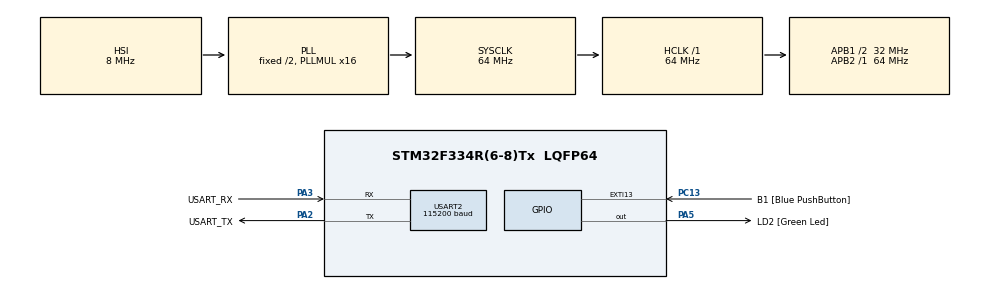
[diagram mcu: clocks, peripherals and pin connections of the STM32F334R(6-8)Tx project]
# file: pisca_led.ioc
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Mcu.Family=STM32F3
Mcu.Name=STM32F334R(6-8)Tx
Mcu.Package=LQFP64
NVIC.PriorityGroup=NVIC_PRIORITYGROUP_0
NVIC.TIM3_IRQn=true\:0\:0\:false\:false\:true\:true\:true
PA13.GPIO_Label=TMS
PA13.Mode=Serial_Wire
PA13.Signal=SYS_JTMS-SWDIO
PA14.GPIO_Label=TCK
PA14.Mode=Serial_Wire
PA14.Signal=SYS_JTCK-SWCLK
PA2.GPIO_Label=USART_TX
PA2.Mode=Asynchronous
PA2.Signal=USART2_TX
PA3.GPIO_Label=USART_RX
PA3.Mode=Asynchronous
PA3.Signal=USART2_RX
PA5.GPIO_Label=LD2 [Green Led]
PA5.Signal=GPIO_Output
PB3.GPIO_Label=SWO
PB3.Signal=SYS_JTDO-TRACESWO
PC13.GPIO_Label=B1 [Blue PushButton]
PC13.GPIO_ModeDefaultEXTI=GPIO_MODE_IT_FALLING
PC13.Signal=GPXTI13
PC14\ /\ OSC32_IN.Mode=LSE-External-Oscillator
PC14\ /\ OSC32_IN.Signal=RCC_OSC32_IN
PC15\ /\ OSC32_OUT.GPIO_Label=RCC_OSC32_OUT
PC15\ /\ OSC32_OUT.Mode=LSE-External-Oscillator
PC15\ /\ OSC32_OUT.Signal=RCC_OSC32_OUT
PF0\ /\ OSC_IN.Mode=HSE-External-Clock-Source
PF0\ /\ OSC_IN.Signal=RCC_OSC_IN
PF1\ /\ OSC_OUT.Signal=RCC_OSC_OUT
ProjectManager.HeapSize=0x200
ProjectManager.StackSize=0x400
ProjectManager.TargetToolchain=STM32CubeIDE
RCC.AHBFreq_Value=64000000
RCC.APB1CLKDivider=RCC_HCLK_DIV2
RCC.APB1Freq_Value=32000000
RCC.APB1TimFreq_Value=64000000
RCC.APB2Freq_Value=64000000
RCC.APB2TimFreq_Value=64000000
RCC.CortexFreq_Value=64000000
RCC.FLatency-AdvancedSettings=FLASH_LATENCY_2
RCC.HCLKFreq_Value=64000000
RCC.HSE_VALUE=8000000
RCC.HSI_VALUE=8000000
RCC.PLLMUL=RCC_PLL_MUL16
RCC.SYSCLKFreq_VALUE=64000000
RCC.SYSCLKSourceVirtual=RCC_SYSCLKSOURCE_PLLCLK
TIM3.Period=1000
TIM3.Prescaler=64000
USART2.BaudRate=115200
USART2.VirtualMode-Asynchronous=VM_ASYNC
VP_TIM3_VS_ClockSourceINT.Mode=Internal
board=NUCLEO-F334R8

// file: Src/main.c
/* USER CODE BEGIN Header */
/**
 ******************************************************************************
 * @file           : main.c
 * @brief          : Main program body
 ******************************************************************************
 * @attention
 *
 * <h2><center>&copy; Copyright (c) 2019 STMicroelectronics.
 * All rights reserved.</center></h2>
 *
 * This software component is licensed by ST under BSD 3-Clause license,
 * the "License"; You may not use this file except in compliance with the
 * License. You may obtain a copy of the License at:
 *                        opensource.org/licenses/BSD-3-Clause
 *
 ******************************************************************************
 */
/* USER CODE END Header */

#include "main.h"

/* USER CODE BEGIN Includes */

#include <string.h>

/* USER CODE END Includes */

TIM_HandleTypeDef htim3;

UART_HandleTypeDef huart2;

void SystemClock_Config(void);
static void MX_GPIO_Init(void);
static void MX_TIM3_Init(void);
static void MX_USART2_UART_Init(void);
/* USER CODE BEGIN PFP */
uint8_t Buffer[50] = "teste";
uint8_t timer[8] = "teste Timer";

int second = 0;
int minute = 0;
int hour = 0;
/* USER CODE END PFP */

int main(void)
{

  /* MCU Configuration--------------------------------------------------------*/

  /* Reset of all peripherals, Initializes the Flash interface and the Systick. */
  HAL_Init();

  /* Configure the system clock */
  SystemClock_Config();

  /* Initialize all configured peripherals */
  MX_GPIO_Init();
  MX_TIM3_Init();
  MX_USART2_UART_Init();
  /* USER CODE BEGIN 2 */
  HAL_TIM_Base_Start_IT(&htim3);

  /* USER CODE END 2 */

  /* Infinite loop */
	while (1) {

    /* USER CODE BEGIN 3 */

		HAL_GPIO_WritePin(LD2_GPIO_Port, LD2_Pin, GPIO_PIN_RESET);
		HAL_Delay(500);
		HAL_GPIO_WritePin(LD2_GPIO_Port, LD2_Pin, 1);
		HAL_Delay(500);

		//SPRINTF(buffer, "variavel, %d", variavel)

		itoa(hour,Buffer, 10);
		sprintf(timer + strlen(timer), Buffer);

		sprintf(timer + strlen(timer), ":");

		itoa(minute, Buffer, 10);
		sprintf(timer + strlen(timer), Buffer);

		sprintf(timer + strlen(timer), ":");

		itoa(second, Buffer, 10);
		sprintf(timer + strlen(timer), Buffer);

		if (HAL_UART_Transmit(&huart2, (uint8_t*) timer, 8, 100) != HAL_OK) {
			Error_Handler();
		}

		minute ++;

		HAL_Delay(100);
	}
  /* USER CODE END 3 */
}

void SystemClock_Config(void)
{
  RCC_OscInitTypeDef RCC_OscInitStruct = {0};
  RCC_ClkInitTypeDef RCC_ClkInitStruct = {0};

  /** Initializes the CPU, AHB and APB busses clocks
  */
  RCC_OscInitStruct.OscillatorType = RCC_OSCILLATORTYPE_HSI;
  RCC_OscInitStruct.HSIState = RCC_HSI_ON;
  RCC_OscInitStruct.HSICalibrationValue = RCC_HSICALIBRATION_DEFAULT;
  RCC_OscInitStruct.PLL.PLLState = RCC_PLL_ON;
  RCC_OscInitStruct.PLL.PLLSource = RCC_PLLSOURCE_HSI;
  RCC_OscInitStruct.PLL.PLLMUL = RCC_PLL_MUL16;
  if (HAL_RCC_OscConfig(&RCC_OscInitStruct) != HAL_OK)
  {
    Error_Handler();
  }
  /** Initializes the CPU, AHB and APB busses clocks
  */
  RCC_ClkInitStruct.ClockType = RCC_CLOCKTYPE_HCLK|RCC_CLOCKTYPE_SYSCLK
                              |RCC_CLOCKTYPE_PCLK1|RCC_CLOCKTYPE_PCLK2;
  RCC_ClkInitStruct.SYSCLKSource = RCC_SYSCLKSOURCE_PLLCLK;
  RCC_ClkInitStruct.AHBCLKDivider = RCC_SYSCLK_DIV1;
  RCC_ClkInitStruct.APB1CLKDivider = RCC_HCLK_DIV2;
  RCC_ClkInitStruct.APB2CLKDivider = RCC_HCLK_DIV1;

  if (HAL_RCC_ClockConfig(&RCC_ClkInitStruct, FLASH_LATENCY_2) != HAL_OK)
  {
    Error_Handler();
  }
}

static void MX_TIM3_Init(void)
{

  TIM_ClockConfigTypeDef sClockSourceConfig = {0};
  TIM_MasterConfigTypeDef sMasterConfig = {0};

  htim3.Instance = TIM3;
  htim3.Init.Prescaler = 64000;
  htim3.Init.CounterMode = TIM_COUNTERMODE_UP;
  htim3.Init.Period = 1000;
  htim3.Init.ClockDivision = TIM_CLOCKDIVISION_DIV1;
  htim3.Init.AutoReloadPreload = TIM_AUTORELOAD_PRELOAD_DISABLE;
  if (HAL_TIM_Base_Init(&htim3) != HAL_OK)
  {
    Error_Handler();
  }
  sClockSourceConfig.ClockSource = TIM_CLOCKSOURCE_INTERNAL;
  if (HAL_TIM_ConfigClockSource(&htim3, &sClockSourceConfig) != HAL_OK)
  {
    Error_Handler();
  }
  sMasterConfig.MasterOutputTrigger = TIM_TRGO_RESET;
  sMasterConfig.MasterSlaveMode = TIM_MASTERSLAVEMODE_DISABLE;
  if (HAL_TIMEx_MasterConfigSynchronization(&htim3, &sMasterConfig) != HAL_OK)
  {
    Error_Handler();
  }

}

static void MX_USART2_UART_Init(void)
{

  huart2.Instance = USART2;
  huart2.Init.BaudRate = 115200;
  huart2.Init.WordLength = UART_WORDLENGTH_8B;
  huart2.Init.StopBits = UART_STOPBITS_1;
  huart2.Init.Parity = UART_PARITY_NONE;
  huart2.Init.Mode = UART_MODE_TX_RX;
  huart2.Init.HwFlowCtl = UART_HWCONTROL_NONE;
  huart2.Init.OverSampling = UART_OVERSAMPLING_16;
  huart2.Init.OneBitSampling = UART_ONE_BIT_SAMPLE_DISABLE;
  huart2.AdvancedInit.AdvFeatureInit = UART_ADVFEATURE_NO_INIT;
  if (HAL_UART_Init(&huart2) != HAL_OK)
  {
    Error_Handler();
  }

}

static void MX_GPIO_Init(void)
{
  GPIO_InitTypeDef GPIO_InitStruct = {0};

  /* GPIO Ports Clock Enable */
  __HAL_RCC_GPIOC_CLK_ENABLE();
  __HAL_RCC_GPIOF_CLK_ENABLE();
  __HAL_RCC_GPIOA_CLK_ENABLE();
  __HAL_RCC_GPIOB_CLK_ENABLE();

  /*Configure GPIO pin Output Level */
  HAL_GPIO_WritePin(LD2_GPIO_Port, LD2_Pin, GPIO_PIN_RESET);

  /*Configure GPIO pin : B1_Pin */
  GPIO_InitStruct.Pin = B1_Pin;
  GPIO_InitStruct.Mode = GPIO_MODE_IT_FALLING;
  GPIO_InitStruct.Pull = GPIO_NOPULL;
  HAL_GPIO_Init(B1_GPIO_Port, &GPIO_InitStruct);

  /*Configure GPIO pin : LD2_Pin */
  GPIO_InitStruct.Pin = LD2_Pin;
  GPIO_InitStruct.Mode = GPIO_MODE_OUTPUT_PP;
  GPIO_InitStruct.Pull = GPIO_NOPULL;
  GPIO_InitStruct.Speed = GPIO_SPEED_FREQ_LOW;
  HAL_GPIO_Init(LD2_GPIO_Port, &GPIO_InitStruct);

}

/* USER CODE BEGIN 4 */

void HAL_TIM_PeriodElapsedCallback(TIM_HandleTypeDef *htim) {

	timer = "teste de interrupção";

	if (HAL_UART_Transmit(&huart2, (uint8_t*) timer, 8, 100) != HAL_OK) {
		Error_Handler();
	}

}

/* USER CODE END 4 */

void Error_Handler(void)
{
}

/************************ (C) COPYRIGHT STMicroelectronics *****END OF FILE****/
